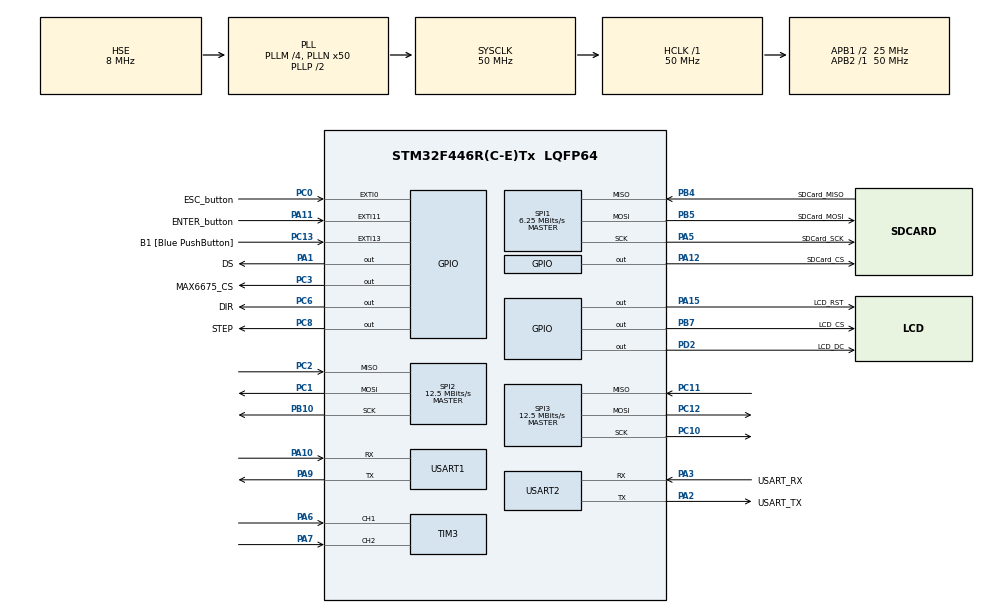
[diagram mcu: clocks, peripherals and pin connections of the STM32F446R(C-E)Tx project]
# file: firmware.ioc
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Dma.Request0=USART1_RX
Dma.Request1=USART1_TX
Dma.USART1_RX.0.Direction=DMA_PERIPH_TO_MEMORY
Dma.USART1_RX.0.FIFOMode=DMA_FIFOMODE_DISABLE
Dma.USART1_RX.0.Instance=DMA2_Stream2
Dma.USART1_RX.0.MemDataAlignment=DMA_MDATAALIGN_BYTE
Dma.USART1_RX.0.MemInc=DMA_MINC_ENABLE
Dma.USART1_RX.0.Mode=DMA_CIRCULAR
Dma.USART1_RX.0.PeriphDataAlignment=DMA_PDATAALIGN_BYTE
Dma.USART1_RX.0.PeriphInc=DMA_PINC_DISABLE
Dma.USART1_RX.0.Priority=DMA_PRIORITY_LOW
Dma.USART1_TX.1.Direction=DMA_MEMORY_TO_PERIPH
Dma.USART1_TX.1.FIFOMode=DMA_FIFOMODE_DISABLE
Dma.USART1_TX.1.Instance=DMA2_Stream7
Dma.USART1_TX.1.MemDataAlignment=DMA_MDATAALIGN_BYTE
Dma.USART1_TX.1.MemInc=DMA_MINC_ENABLE
Dma.USART1_TX.1.Mode=DMA_NORMAL
Dma.USART1_TX.1.PeriphDataAlignment=DMA_PDATAALIGN_BYTE
Dma.USART1_TX.1.PeriphInc=DMA_PINC_DISABLE
Dma.USART1_TX.1.Priority=DMA_PRIORITY_LOW
FATFS._CODE_PAGE=1
Mcu.Family=STM32F4
Mcu.Name=STM32F446R(C-E)Tx
Mcu.Package=LQFP64
NVIC.DMA2_Stream2_IRQn=true\:0\:0\:false\:false\:true\:false\:true\:true
NVIC.DMA2_Stream7_IRQn=true\:0\:0\:false\:false\:true\:false\:true\:true
NVIC.EXTI15_10_IRQn=true\:0\:0\:false\:false\:true\:true\:true\:true
NVIC.PriorityGroup=NVIC_PRIORITYGROUP_0
NVIC.USART1_IRQn=true\:0\:0\:false\:false\:true\:true\:true\:true
PA1.GPIO_Label=DS
PA1.GPIO_ModeDefaultOutputPP=GPIO_MODE_OUTPUT_OD
PA1.GPIO_PuPd=GPIO_NOPULL
PA1.PinState=GPIO_PIN_SET
PA1.Signal=GPIO_Output
PA10.Mode=Asynchronous
PA10.Signal=USART1_RX
PA11.GPIO_Label=ENTER_button
PA11.GPIO_ModeDefaultEXTI=GPIO_MODE_IT_FALLING
PA11.GPIO_PuPd=GPIO_PULLUP
PA11.Signal=GPXTI11
PA12.GPIO_Label=SDCard_CS
PA12.GPIO_PuPd=GPIO_NOPULL
PA12.GPIO_Speed=GPIO_SPEED_FREQ_HIGH
PA12.PinState=GPIO_PIN_SET
PA12.Signal=GPIO_Output
PA13.GPIO_Label=TMS
PA13.Mode=Serial_Wire
PA13.Signal=SYS_JTMS-SWDIO
PA14.GPIO_Label=TCK
PA14.Mode=Serial_Wire
PA14.Signal=SYS_JTCK-SWCLK
PA15.GPIO_Label=LCD_RST
PA15.GPIO_Speed=GPIO_SPEED_FREQ_HIGH
PA15.Signal=GPIO_Output
PA2.GPIO_Label=USART_TX
PA2.Mode=Asynchronous
PA2.Signal=USART2_TX
PA3.GPIO_Label=USART_RX
PA3.Mode=Asynchronous
PA3.Signal=USART2_RX
PA5.GPIO_Label=SDCard_SCK
PA5.Mode=Full_Duplex_Master
PA5.Signal=SPI1_SCK
PA6.Signal=S_TIM3_CH1
PA7.Signal=S_TIM3_CH2
PA9.Mode=Asynchronous
PA9.Signal=USART1_TX
PB10.Mode=Full_Duplex_Master
PB10.Signal=SPI2_SCK
PB3.GPIO_Label=SWO
PB3.Signal=SYS_JTDO-SWO
PB4.GPIO_Label=SDCard_MISO
PB4.Mode=Full_Duplex_Master
PB4.Signal=SPI1_MISO
PB5.GPIO_Label=SDCard_MOSI
PB5.Mode=Full_Duplex_Master
PB5.Signal=SPI1_MOSI
PB7.GPIO_Label=LCD_CS
PB7.GPIO_Speed=GPIO_SPEED_FREQ_HIGH
PB7.PinState=GPIO_PIN_SET
PB7.Signal=GPIO_Output
PC0.GPIO_Label=ESC_button
PC0.GPIO_ModeDefaultEXTI=GPIO_MODE_IT_FALLING
PC0.GPIO_PuPd=GPIO_PULLUP
PC0.Signal=GPXTI0
PC1.Mode=Full_Duplex_Master
PC1.Signal=SPI2_MOSI
PC10.Mode=Full_Duplex_Master
PC10.Signal=SPI3_SCK
PC11.Mode=Full_Duplex_Master
PC11.Signal=SPI3_MISO
PC12.Mode=Full_Duplex_Master
PC12.Signal=SPI3_MOSI
PC13.GPIO_Label=B1 [Blue PushButton]
PC13.GPIO_ModeDefaultEXTI=GPIO_MODE_IT_FALLING
PC13.Signal=GPXTI13
PC14-OSC32_IN.Mode=LSE-External-Oscillator
PC14-OSC32_IN.Signal=RCC_OSC32_IN
PC15-OSC32_OUT.Mode=LSE-External-Oscillator
PC15-OSC32_OUT.Signal=RCC_OSC32_OUT
PC2.Mode=Full_Duplex_Master
PC2.Signal=SPI2_MISO
PC3.GPIO_Label=MAX6675_CS
PC3.GPIO_Speed=GPIO_SPEED_FREQ_HIGH
PC3.Signal=GPIO_Output
PC6.GPIO_Label=DIR
PC6.GPIO_ModeDefaultOutputPP=GPIO_MODE_OUTPUT_PP
PC6.Signal=GPIO_Output
PC8.GPIO_Label=STEP
PC8.Signal=GPIO_Output
PD2.GPIO_Label=LCD_DC
PD2.GPIO_Speed=GPIO_SPEED_FREQ_HIGH
PD2.Signal=GPIO_Output
PH0-OSC_IN.Mode=HSE-External-Oscillator
PH0-OSC_IN.Signal=RCC_OSC_IN
PH1-OSC_OUT.Mode=HSE-External-Oscillator
PH1-OSC_OUT.Signal=RCC_OSC_OUT
ProjectManager.HeapSize=0x200
ProjectManager.StackSize=0x400
ProjectManager.TargetToolchain=STM32CubeIDE
RCC.48MHZClocksFreq_Value=84000000
RCC.AHBFreq_Value=50000000
RCC.APB1CLKDivider=RCC_HCLK_DIV2
RCC.APB1Freq_Value=25000000
RCC.APB1TimFreq_Value=50000000
RCC.APB2Freq_Value=50000000
RCC.APB2TimFreq_Value=50000000
RCC.CortexFreq_Value=50000000
RCC.FLatency-AdvancedSettings=FLASH_LATENCY_1
RCC.HCLKFreq_Value=50000000
RCC.HSE_VALUE=8000000
RCC.HSI_VALUE=16000000
RCC.PLLM=4
RCC.PLLN=50
RCC.PLLSourceVirtual=RCC_PLLSOURCE_HSE
RCC.SYSCLKFreq_VALUE=50000000
RCC.SYSCLKSource=RCC_SYSCLKSOURCE_PLLCLK
RCC.USBFreq_Value=50000000
RCC.VCOOutputFreq_Value=100000000
SH.S_TIM3_CH1.0=TIM3_CH1,Encoder_Interface
SH.S_TIM3_CH2.0=TIM3_CH2,Encoder_Interface
SPI1.BaudRatePrescaler=SPI_BAUDRATEPRESCALER_8
SPI1.CalculateBaudRate=6.25 MBits/s
SPI1.Direction=SPI_DIRECTION_2LINES
SPI1.Mode=SPI_MODE_MASTER
SPI1.VirtualType=VM_MASTER
SPI2.CalculateBaudRate=12.5 MBits/s
SPI2.Direction=SPI_DIRECTION_2LINES
SPI2.Mode=SPI_MODE_MASTER
SPI2.VirtualType=VM_MASTER
SPI3.CalculateBaudRate=12.5 MBits/s
SPI3.Direction=SPI_DIRECTION_2LINES
SPI3.Mode=SPI_MODE_MASTER
SPI3.VirtualType=VM_MASTER
TIM1.Prescaler=49
TIM3.EncoderMode=TIM_ENCODERMODE_TI12
TIM3.IC1Filter=4
TIM6.Period=0xffff-1
TIM6.Prescaler=50-1
USART1.VirtualMode=VM_ASYNC
USART2.VirtualMode=VM_ASYNC
VP_FATFS_VS_Generic.Mode=User_defined
VP_TIM1_VS_ClockSourceINT.Mode=Internal
VP_TIM6_VS_ClockSourceINT.Mode=Enable_Timer
board=NUCLEO-F446RE

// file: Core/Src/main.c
/* USER CODE BEGIN Header */
/**
  ******************************************************************************
  * @file           : main.c
  * @brief          : Main program body
  ******************************************************************************
  * @attention
  *
  * Copyright (c) 2026 STMicroelectronics.
  * All rights reserved.
  *
  * This software is licensed under terms that can be found in the LICENSE file
  * in the root directory of this software component.
  * If no LICENSE file comes with this software, it is provided AS-IS.
  *
  ******************************************************************************
  */
/* USER CODE END Header */
#include "main.h"
#include "dma.h"
#include "fatfs.h"
#include "spi.h"
#include "tim.h"
#include "usart.h"
#include "gpio.h"

/* USER CODE BEGIN Includes */
#include <stdio.h>
#include "ds18b20.h"
#include <string.h>
#include "wire.h"
#include "a4988.h"
#include "esp8266.h"
#include "ili9341.h"
#include "max6675.h"
#include "system.h"
#include "ui.h"
#include "config.h"

#include "ff.h"
#include <string.h>
/* USER CODE END Includes */

/* USER CODE BEGIN PV */
ESP8266_Handle_t esp8266;
/* USER CODE END PV */

void SystemClock_Config(void);

/* USER CODE BEGIN 0 */
//int _write(int file, char *ptr, int len)
//{
//    HAL_UART_Transmit(&huart2, (uint8_t*)ptr, len, HAL_MAX_DELAY);
//    return len;
//}

int _write(int file, char *ptr, int len)
{
    (void)file;

    HAL_UART_Transmit(
        &huart2,
        (uint8_t *)ptr,
        len,
        100
    );

    return len;
}

/* USER CODE END 0 */

int main(void)
{

  /* MCU Configuration--------------------------------------------------------*/

  /* Reset of all peripherals, Initializes the Flash interface and the Systick. */
  HAL_Init();

  /* Configure the system clock */
  SystemClock_Config();

  /* Initialize all configured peripherals */
  MX_GPIO_Init();
  MX_DMA_Init();
  MX_USART2_UART_Init();
  MX_TIM1_Init();
  MX_TIM6_Init();
  MX_USART1_UART_Init();
  MX_TIM3_Init();
  MX_SPI3_Init();
  MX_SPI2_Init();
  MX_SPI1_Init();
  MX_FATFS_Init();
  /* USER CODE BEGIN 2 */

  HAL_TIM_Base_Start(&htim1);

  System_Init();

  uint32_t test_counter = 0;
  /* USER CODE END 2 */

  /* Infinite loop */
  /* USER CODE BEGIN WHILE */
  while (1)
  {
	  FATFS fs;
	      FIL file;
	      FRESULT result;
	      UINT written = 0U;
	      char text[] = "TEST\r\n";
	      static uint8_t test_result = 2U;

	      if (test_result == 2U)
	      {
	          result = f_mount(&fs, "0:/", 1U);

	          if (result == FR_OK)
	          {
	              result = f_open(&file, "0:/TEST.TXT", FA_CREATE_ALWAYS | FA_WRITE);

	              if (result == FR_OK)
	              {
	                  f_write(&file, text, strlen(text), &written);
	                  f_close(&file);
	                  test_result = 1U;
	              }
	              else
	              {
	                  test_result = 0U;
	              }
	          }
	          else
	          {
	              test_result = 0U;
	          }
	      }

	      if (test_result == 1U)
	      {
	          ILI9341_FillRect(0U, 60U, ILI9341_WIDTH, 20U, ILI9341_GREEN);
	          ILI9341_DrawString(0U, 62U, "KARTA OK", ILI9341_WHITE, ILI9341_GREEN, 2U);
	      }
	      else
	      {
	          ILI9341_FillRect(0U, 60U, ILI9341_WIDTH, 20U, ILI9341_RED);
	          ILI9341_DrawString(0U, 62U, "KARTA BLAD", ILI9341_WHITE, ILI9341_RED, 2U);
	      }

	      HAL_Delay(1000U);
    /* USER CODE END WHILE */

  }
}

void SystemClock_Config(void)
{
  RCC_OscInitTypeDef RCC_OscInitStruct = {0};
  RCC_ClkInitTypeDef RCC_ClkInitStruct = {0};

  /** Configure the main internal regulator output voltage
  */
  __HAL_RCC_PWR_CLK_ENABLE();
  __HAL_PWR_VOLTAGESCALING_CONFIG(PWR_REGULATOR_VOLTAGE_SCALE3);

  /** Initializes the RCC Oscillators according to the specified parameters
  * in the RCC_OscInitTypeDef structure.
  */
  RCC_OscInitStruct.OscillatorType = RCC_OSCILLATORTYPE_HSE;
  RCC_OscInitStruct.HSEState = RCC_HSE_ON;
  RCC_OscInitStruct.PLL.PLLState = RCC_PLL_ON;
  RCC_OscInitStruct.PLL.PLLSource = RCC_PLLSOURCE_HSE;
  RCC_OscInitStruct.PLL.PLLM = 4;
  RCC_OscInitStruct.PLL.PLLN = 50;
  RCC_OscInitStruct.PLL.PLLP = RCC_PLLP_DIV2;
  RCC_OscInitStruct.PLL.PLLQ = 2;
  RCC_OscInitStruct.PLL.PLLR = 2;
  if (HAL_RCC_OscConfig(&RCC_OscInitStruct) != HAL_OK)
  {
    Error_Handler();
  }

  /** Initializes the CPU, AHB and APB buses clocks
  */
  RCC_ClkInitStruct.ClockType = RCC_CLOCKTYPE_HCLK|RCC_CLOCKTYPE_SYSCLK
                              |RCC_CLOCKTYPE_PCLK1|RCC_CLOCKTYPE_PCLK2;
  RCC_ClkInitStruct.SYSCLKSource = RCC_SYSCLKSOURCE_PLLCLK;
  RCC_ClkInitStruct.AHBCLKDivider = RCC_SYSCLK_DIV1;
  RCC_ClkInitStruct.APB1CLKDivider = RCC_HCLK_DIV2;
  RCC_ClkInitStruct.APB2CLKDivider = RCC_HCLK_DIV1;

  if (HAL_RCC_ClockConfig(&RCC_ClkInitStruct, FLASH_LATENCY_1) != HAL_OK)
  {
    Error_Handler();
  }
}

void Error_Handler(void)
{
  __disable_irq();
  while (1)
  {
  }
}
